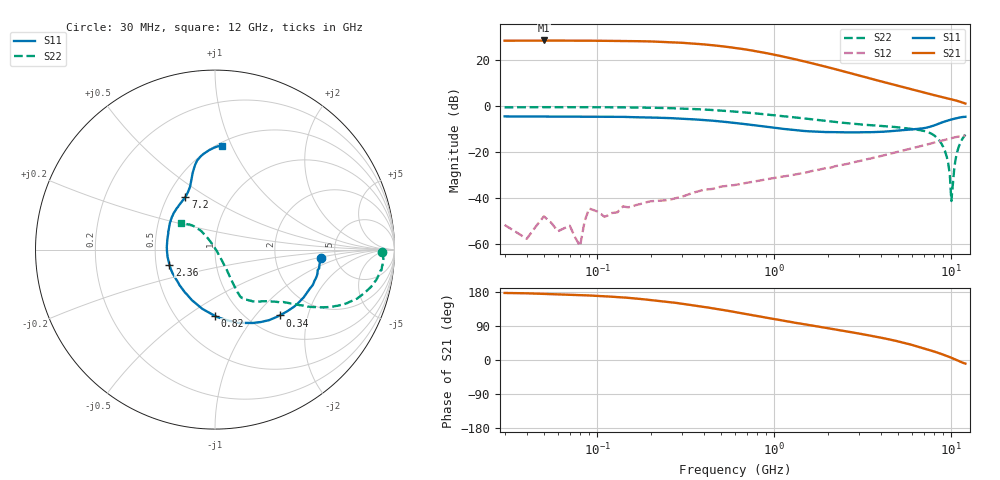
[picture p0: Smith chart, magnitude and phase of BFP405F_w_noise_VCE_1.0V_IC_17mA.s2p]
! Infineon Technologies  Discrete & RF Semiconductors
! BFP405F
! VCE =  1.0 V,  IC =  17 mA
! Common Emitter S-Parameters:  Nov 2015
# GHz  S  MA  R  50
!  f  S11  S21  S12  S22
! GHz  MAG  ANG  MAG  ANG  MAG  ANG  MAG  ANG
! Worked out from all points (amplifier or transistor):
!   239 points, 30 MHz to 12 GHz, reference 50 ohm
!   highest |S21| = 28.4 dB at 50 MHz (marker M1)
!   |S21| within 3 dB of that: start of sweep to 568 MHz
!   unconditionally stable (mu >= 1): 38 MHz to 40.95 MHz; 75.63 MHz to 82 MHz; 1.374 GHz to end of sweep
!   at 300 MHz: K = 0.38, MSG = 33.5 dB, |S12| = -39.5 dB
!   at 1.88 GHz: K = 1.16, MAG = 19.9 dB, |S12| = -27.3 dB
!   at 12 GHz: K = 1.45, MAG = 3.0 dB, |S12| = -12.8 dB
!   lowest NFmin = 2.08 dB at 450 MHz
!   S11 on the Smith chart (normalised r, x): 30 MHz: 3.82, -0.52; 340 MHz: 1.35, -1.35; 820 MHz: 0.76, -0.65; 2.36 GHz: 0.59, -0.11; 7.2 GHz: 0.61, +0.41; 12 GHz: 0.53, +0.92
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0.03  0.5918 -4.3  26.13 176.9  0.0026 122.8  0.9317 -0.7
0.04  0.5899 -5.9  26.23 176.0  0.0013 75.5  0.9384 -1.5
0.05  0.5888 -7.2  26.41 174.5  0.004 132.8  0.94 -1.7
0.08  0.5835 -11.2  26.07 171.0  0.0009 37.4  0.9386 -3.8
0.085  0.5848 -12.2  26.11 170.6  0.0032 83.9  0.9374 -4.1
0.15  0.5726 -21.9  25.69 164.0  0.0063 79.0  0.9278 -8.0
0.2  0.5611 -28.4  25.16 158.2  0.0085 75.1  0.9147 -10.6
0.24  0.5493 -33.5  24.44 154.4  0.0089 78.1  0.9011 -12.5
0.34  0.5145 -45.5  22.75 145.2  0.0126 71.2  0.8603 -16.8
0.45  0.4774 -57.7  20.8 136.3  0.0158 68.8  0.8133 -20.6
0.6  0.428 -72.5  18.18 126.3  0.0192 65.3  0.752 -24.6
0.82  0.3701 -89.9  14.99 115.2  0.0237 64.3  0.6778 -28.3
1.2  0.3097 -114.6  11.16 101.5  0.0305 64.2  0.5844 -32.3
1.64  0.278 -136.3  8.408 90.8  0.0387 63.6  0.5126 -35.7
2.36  0.2675 -161.7  5.879 78.3  0.0513 63.7  0.4362 -41.7
4.5  0.2821 156.0  3.038 54.0  0.0918 57.4  0.3569 -53.9
7.2  0.3359 119.5  1.902 28.9  0.1434 45.3  0.2765 -61.9
9.2  0.4608 105.0  1.503 12.4  0.1838 34.6  0.1046 -59.1
9.8  0.4965 102.2  1.419 7.6  0.1958 31.0  0.0323 -52.8
10  0.5078 101.2  1.393 5.9  0.1999 29.8  0.0086 -27.6
10.6  0.5372 96.8  1.314 0.8  0.2105 25.8  0.0743 122.3
12  0.5803 86.2  1.127 -9.5  0.2281 18.6  0.2389 142.3
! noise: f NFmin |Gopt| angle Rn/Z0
0.45  2.08  0.07  0  0.34
0.9  2.1  0.06  2  0.36
1.5  2.15  0.05  1  0.23
1.9  2.21  0.03  -15  0.22
2.4  2.35  0.02  -69  0.34
3  2.44  0.03  -103  0.11
3.5  2.5  0.05  -109  0.28
4.5  2.72  0.11  -100  0.41
5.5  3  0.19  -88  0.37
